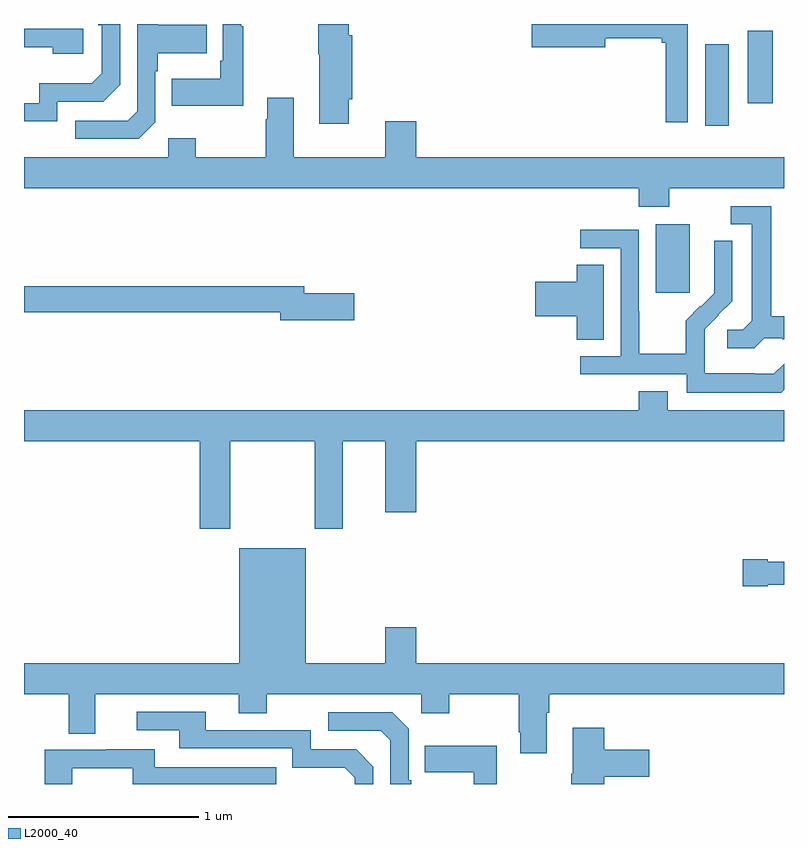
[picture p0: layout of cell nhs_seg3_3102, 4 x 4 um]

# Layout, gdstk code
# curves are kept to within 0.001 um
import gdstk
lib = gdstk.Library(unit=1e-6, precision=1e-09)
def R(c, l, rs):  # rectangles x0, y0, x1, y1
    for r in rs: c.add(gdstk.rectangle(r[:2], r[2:], *l))
def P(c, l, *ps):  # polygons
    for p in ps: c.add(gdstk.Polygon(p, *l))
L2000_40 = (2000, 40)

nhs_seg3_3102 = lib.new_cell('nhs_seg3_3102')
R(nhs_seg3_3102, L2000_40, [(274.325,746.985,274.504,747.346), (274.586,747.864,274.708,748.294), (274.808,747.984,274.942,748.364)])
P(nhs_seg3_3102, L2000_40, [(271.692,747.882),(271.692,748.151),(271.705,748.151),(271.705,748.247),(271.961,748.247),(271.961,748.395),(271.705,748.395),(271.705,748.4),(271.596,748.4),(271.596,747.942),(271.545,747.891),(271.269,747.891),(271.269,747.795),(271.605,747.795)],
  [(272.155,748.387),(272.143,748.387),(272.143,748.4),(272.046,748.4),(272.046,748.207),(272.034,748.207),(272.034,748.111),(271.777,748.111),(271.777,747.971),(272.155,747.971)],
  [(271.176,747.99),(271.416,747.99),(271.506,748.08),(271.506,748.4),(271.39,748.4),(271.39,748.394),(271.41,748.394),(271.41,748.14),(271.357,748.087),(271.08,748.087),(271.08,747.984),(271,747.984),(271,747.888),(271.176,747.888)],
  [(272.71,748.005),(272.728,748.005),(272.728,748.341),(272.71,748.341),(272.71,748.4),(272.548,748.4),(272.548,748.241),(272.555,748.241),(272.555,747.876),(272.71,747.876)],
  [(274.494,748.4),(273.672,748.4),(273.672,748.277),(274.06,748.277),(274.06,748.324),(274.357,748.324),(274.357,748.301),(274.378,748.301),(274.378,747.882),(274.494,747.882)],
  [(271.312,748.374),(271,748.374),(271,748.278),(271.151,748.278),(271.151,748.244),(271.312,748.244)],
  [(274.395,747.536),(275,747.536),(275,747.7),(273.064,747.7),(273.064,747.889),(272.9,747.889),(272.9,747.7),(272.419,747.7),(272.419,748.012),(272.279,748.012),(272.279,747.899),(272.272,747.899),(272.272,747.7),(271.905,747.7),(271.905,747.799),(271.758,747.799),(271.758,747.7),(271,747.7),(271,747.536),(274.235,747.536),(274.235,747.437),(274.395,747.437)],
  [(274.896,746.745),(274.99,746.745),(274.99,746.742),(275,746.742),(275,746.861),(274.933,746.861),(274.933,747.441),(274.719,747.441),(274.719,747.345),(274.829,747.345),(274.829,746.837),(274.782,746.79),(274.701,746.79),(274.701,746.693),(274.844,746.693)],
  [(275,746.474),(275,746.612),(274.947,746.559),(274.847,746.559),(274.847,746.563),(274.584,746.563),(274.584,746.697),(274.582,746.697),(274.582,746.794),(274.728,746.942),(274.728,747.26),(274.632,747.26),(274.632,747.106),(274.634,747.106),(274.634,746.984),(274.563,746.913),(274.56,746.916),(274.483,746.839),(274.483,746.665),(274.239,746.665),(274.239,746.888),(274.236,746.888),(274.236,747.318),(273.927,747.318),(273.927,747.219),(274.14,747.219),(274.14,746.652),(273.927,746.652),(273.927,746.556),(274.488,746.556),(274.488,746.459),(274.985,746.459)],
  [(274.051,747.134),(273.908,747.134),(273.908,747.044),(273.69,747.044),(273.69,746.861),(273.908,746.861),(273.908,746.737),(274.051,746.737)],
  [(272.737,746.984),(272.476,746.984),(272.476,747.02),(271,747.02),(271,746.884),(272.348,746.884),(272.348,746.842),(272.737,746.842)],
  [(272.085,746.204),(272.53,746.204),(272.53,745.743),(272.677,745.743),(272.677,746.204),(272.9,746.204),(272.9,745.83),(273.064,745.83),(273.064,746.204),(275,746.204),(275,746.368),(274.387,746.368),(274.387,746.467),(274.235,746.467),(274.235,746.368),(271,746.368),(271,746.204),(271.925,746.204),(271.925,745.743),(272.085,745.743)],
  [(273.751,744.776),(273.764,744.776),(273.764,744.872),(275,744.872),(275,745.036),(273.064,745.036),(273.064,745.225),(272.9,745.225),(272.9,745.036),(272.482,745.036),(272.482,745.642),(272.132,745.642),(272.132,745.036),(271,745.036),(271,744.872),(271.235,744.872),(271.235,744.664),(271.375,744.664),(271.375,744.872),(272.129,744.872),(272.129,744.773),(272.277,744.773),(272.277,744.872),(273.09,744.872),(273.09,744.773),(273.237,744.773),(273.237,744.872),(273.604,744.872),(273.604,744.673),(273.611,744.673),(273.611,744.561),(273.751,744.561)],
  [(274.914,745.448),(275,745.448),(275,745.57),(274.914,745.57),(274.914,745.583),(274.782,745.583),(274.782,745.441),(274.914,745.441)],
  [(272.838,744.492),(272.748,744.582),(272.508,744.582),(272.508,744.684),(271.957,744.684),(271.957,744.78),(271.593,744.78),(271.593,744.684),(271.817,744.684),(271.817,744.588),(272.412,744.588),(272.412,744.485),(272.689,744.485),(272.742,744.432),(272.742,744.4),(272.838,744.4)],
  [(273.037,744.421),(273.024,744.421),(273.024,744.69),(272.937,744.777),(272.601,744.777),(272.601,744.681),(272.877,744.681),(272.928,744.63),(272.928,744.4),(273.037,744.4)],
  [(274.055,744.437),(274.291,744.437),(274.291,744.579),(274.055,744.579),(274.055,744.697),(273.887,744.697),(273.887,744.453),(273.88,744.453),(273.88,744.4),(274.055,744.4)],
  [(273.487,744.601),(273.109,744.601),(273.109,744.461),(273.366,744.461),(273.366,744.4),(273.487,744.4)],
  [(271.254,744.483),(271.572,744.483),(271.572,744.4),(272.327,744.4),(272.327,744.489),(271.687,744.489),(271.687,744.583),(271.433,744.583),(271.433,744.579),(271.109,744.579),(271.109,744.4),(271.254,744.4)])

lib.write_gds('nhs_seg3_3102.gds')
